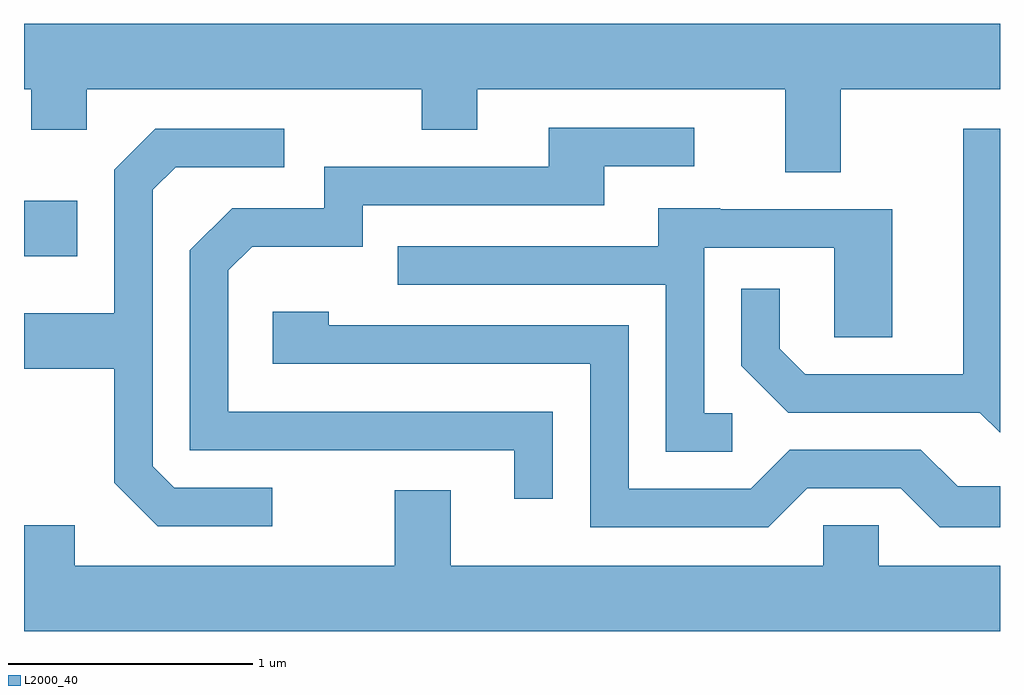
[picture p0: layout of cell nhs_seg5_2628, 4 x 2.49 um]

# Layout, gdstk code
import gdstk
lib = gdstk.Library(unit=1e-6, precision=1e-09)
def R(c, l, rs):  # rectangles x0, y0, x1, y1
    for r in rs: c.add(gdstk.rectangle(r[:2], r[2:], *l))
def P(c, l, *ps):  # polygons
    for p in ps: c.add(gdstk.Polygon(p, *l))
L2000_40 = (2000, 40)

nhs_seg5_2628 = lib.new_cell('nhs_seg5_2628')
R(nhs_seg5_2628, L2000_40, [(263.611,1440.571,263.829,1440.799)])
P(nhs_seg5_2628, L2000_40, [(266.959,1441.256),(267.611,1441.256),(267.611,1441.524),(263.611,1441.524),(263.611,1441.256),(263.641,1441.256),(263.641,1441.091),(263.869,1441.091),(263.869,1441.256),(265.241,1441.256),(265.241,1441.091),(265.469,1441.091),(265.469,1441.256),(266.731,1441.256),(266.731,1440.916),(266.959,1440.916)],
  [(265.779,1439.934),(264.449,1439.934),(264.449,1440.514),(264.547,1440.611),(264.999,1440.611),(264.999,1440.781),(265.989,1440.781),(265.989,1440.941),(266.358,1440.941),(266.358,1441.099),(265.761,1441.099),(265.761,1440.939),(264.841,1440.939),(264.841,1440.769),(264.464,1440.769),(264.291,1440.597),(264.291,1439.776),(265.621,1439.776),(265.621,1439.578),(265.779,1439.578)],
  [(267.611,1441.094),(267.461,1441.094),(267.461,1440.089),(266.812,1440.089),(266.709,1440.192),(266.709,1440.438),(266.551,1440.438),(266.551,1440.124),(266.744,1439.931),(267.529,1439.931),(267.609,1439.851),(267.611,1439.851)],
  [(264.628,1439.624),(264.227,1439.624),(264.139,1439.712),(264.139,1440.844),(264.232,1440.936),(264.678,1440.936),(264.678,1441.094),(264.149,1441.094),(263.981,1440.927),(263.981,1440.339),(263.611,1440.339),(263.611,1440.111),(263.981,1440.111),(263.981,1439.644),(264.159,1439.466),(264.628,1439.466)],
  [(266.513,1439.929),(266.399,1439.929),(266.399,1440.606),(266.931,1440.606),(266.931,1440.241),(267.169,1440.241),(267.169,1440.764),(266.465,1440.764),(266.465,1440.769),(266.211,1440.769),(266.211,1440.614),(265.143,1440.614),(265.143,1440.456),(266.241,1440.456),(266.241,1439.771),(266.513,1439.771)],
  [(266.822,1439.621),(267.204,1439.621),(267.364,1439.461),(267.611,1439.461),(267.611,1439.629),(267.437,1439.629),(267.287,1439.779),(266.749,1439.779),(266.589,1439.619),(266.089,1439.619),(266.089,1440.289),(264.859,1440.289),(264.859,1440.344),(264.631,1440.344),(264.631,1440.131),(265.931,1440.131),(265.931,1439.461),(266.662,1439.461)],
  [(267.611,1439.304),(267.114,1439.304),(267.114,1439.469),(266.886,1439.469),(266.886,1439.304),(265.359,1439.304),(265.359,1439.614),(265.131,1439.614),(265.131,1439.304),(263.819,1439.304),(263.819,1439.469),(263.611,1439.469),(263.611,1439.036),(267.611,1439.036)])

lib.write_gds('nhs_seg5_2628.gds')
